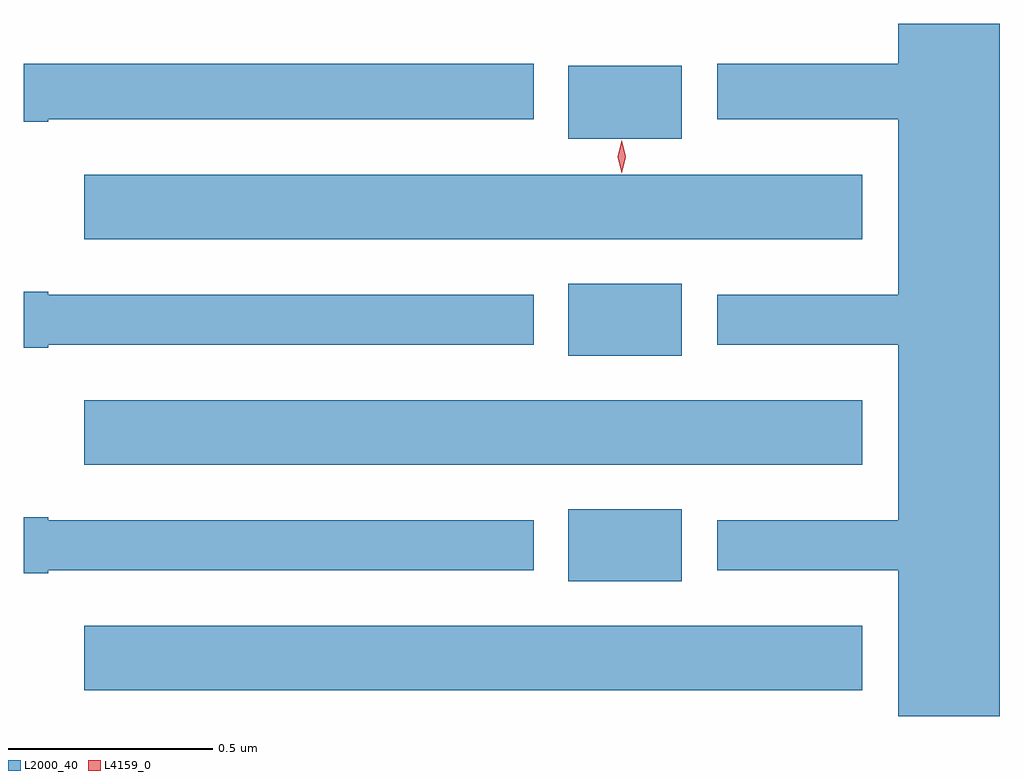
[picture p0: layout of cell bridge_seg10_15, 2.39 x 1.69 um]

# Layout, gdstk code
import gdstk
lib = gdstk.Library(unit=1e-6, precision=1e-09)
def R(c, l, rs):  # rectangles x0, y0, x1, y1
    for r in rs: c.add(gdstk.rectangle(r[:2], r[2:], *l))
def A(c, l, x, y, w, h, nx, ny, dx, dy):  # array of equal rectangles
    R(c, l, [(x+i*dx, y+j*dy, x+i*dx+w, y+j*dy+h) for i in range(nx) for j in range(ny)])
def P(c, l, *ps):  # polygons
    for p in ps: c.add(gdstk.Polygon(p, *l))
L2000_40 = (2000, 40)
L4159_0 = (4159, 0)

bridge_seg10_15 = lib.new_cell('bridge_seg10_15')
A(bridge_seg10_15, L2000_40, 1052.055, 1286.465, 1.903, 0.158, 1, 3, 0, 0.552)
R(bridge_seg10_15, L2000_40, [(1053.239,1286.732,1053.517,1286.908), (1053.239,1287.284,1053.517,1287.46), (1053.239,1287.815,1053.517,1287.994)])
P(bridge_seg10_15, L2000_40, [(1054.294,1288.096),(1054.046,1288.096),(1054.046,1287.998),(1053.603,1287.998),(1053.603,1287.863),(1054.046,1287.863),(1054.046,1287.433),(1053.603,1287.433),(1053.603,1287.311),(1054.046,1287.311),(1054.046,1286.881),(1053.603,1286.881),(1053.603,1286.759),(1054.046,1286.759),(1054.046,1286.402),(1054.294,1286.402)],
  [(1051.967,1287.863),(1053.154,1287.863),(1053.154,1287.998),(1051.906,1287.998),(1051.906,1287.856),(1051.967,1287.856)],
  [(1051.967,1287.311),(1053.154,1287.311),(1053.154,1287.433),(1051.967,1287.433),(1051.967,1287.441),(1051.906,1287.441),(1051.906,1287.304),(1051.967,1287.304)],
  [(1051.967,1286.759),(1053.154,1286.759),(1053.154,1286.881),(1051.967,1286.881),(1051.967,1286.889),(1051.906,1286.889),(1051.906,1286.752),(1051.967,1286.752)])
P(bridge_seg10_15, L4159_0, [(1053.37,1287.73),(1053.37,1287.73),(1053.36,1287.771),(1053.37,1287.811),(1053.37,1287.811),(1053.37,1287.811),(1053.38,1287.771),(1053.37,1287.73)])

lib.write_gds('bridge_seg10_15.gds')
